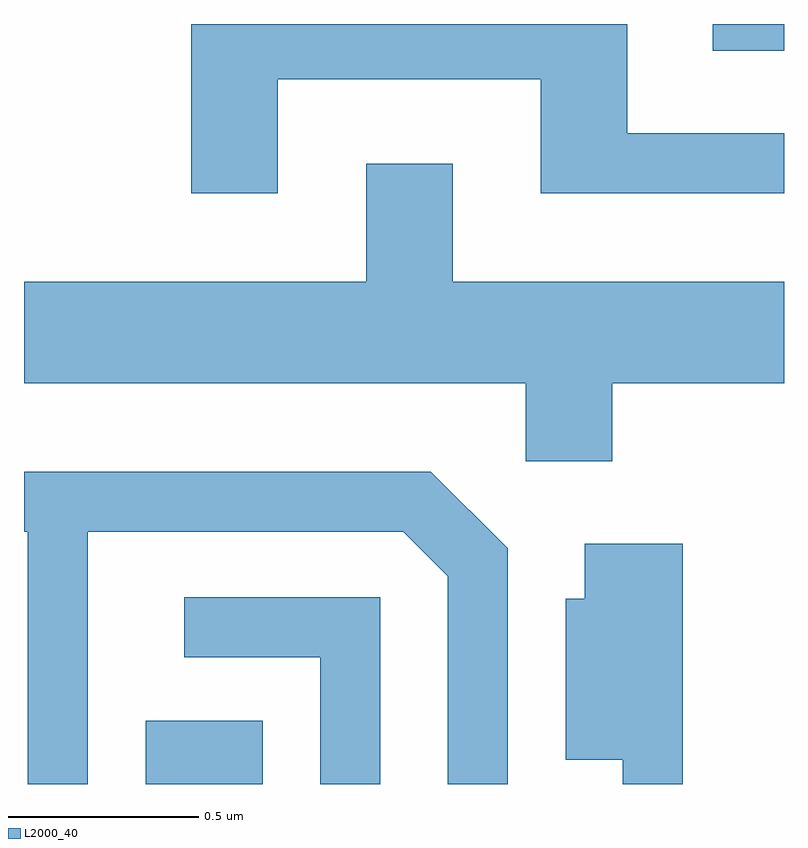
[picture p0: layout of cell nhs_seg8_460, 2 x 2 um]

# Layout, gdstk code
import gdstk
lib = gdstk.Library(unit=1e-6, precision=1e-09)
def R(c, l, rs):  # rectangles x0, y0, x1, y1
    for r in rs: c.add(gdstk.rectangle(r[:2], r[2:], *l))
def P(c, l, *ps):  # polygons
    for p in ps: c.add(gdstk.Polygon(p, *l))
L2000_40 = (2000, 40)

nhs_seg8_460 = lib.new_cell('nhs_seg8_460')
R(nhs_seg8_460, L2000_40, [(188.931,1855.342,189.239,1855.509), (190.423,1857.271,190.611,1857.342)])
P(nhs_seg8_460, L2000_40, [(189.279,1857.196),(189.971,1857.196),(189.971,1856.896),(190.611,1856.896),(190.611,1857.054),(190.199,1857.054),(190.199,1857.342),(189.051,1857.342),(189.051,1856.896),(189.279,1856.896)],
  [(190.159,1856.396),(190.611,1856.396),(190.611,1856.664),(189.739,1856.664),(189.739,1856.974),(189.511,1856.974),(189.511,1856.664),(188.611,1856.664),(188.611,1856.396),(189.931,1856.396),(189.931,1856.191),(190.159,1856.191)],
  [(188.779,1856.006),(189.609,1856.006),(189.726,1855.889),(189.726,1855.342),(189.884,1855.342),(189.884,1855.962),(189.682,1856.164),(188.611,1856.164),(188.611,1856.006),(188.621,1856.006),(188.621,1855.342),(188.779,1855.342)],
  [(190.344,1855.974),(190.086,1855.974),(190.086,1855.829),(190.036,1855.829),(190.036,1855.406),(190.186,1855.406),(190.186,1855.342),(190.344,1855.342)],
  [(189.549,1855.834),(189.033,1855.834),(189.033,1855.676),(189.391,1855.676),(189.391,1855.342),(189.549,1855.342)])

lib.write_gds('nhs_seg8_460.gds')
